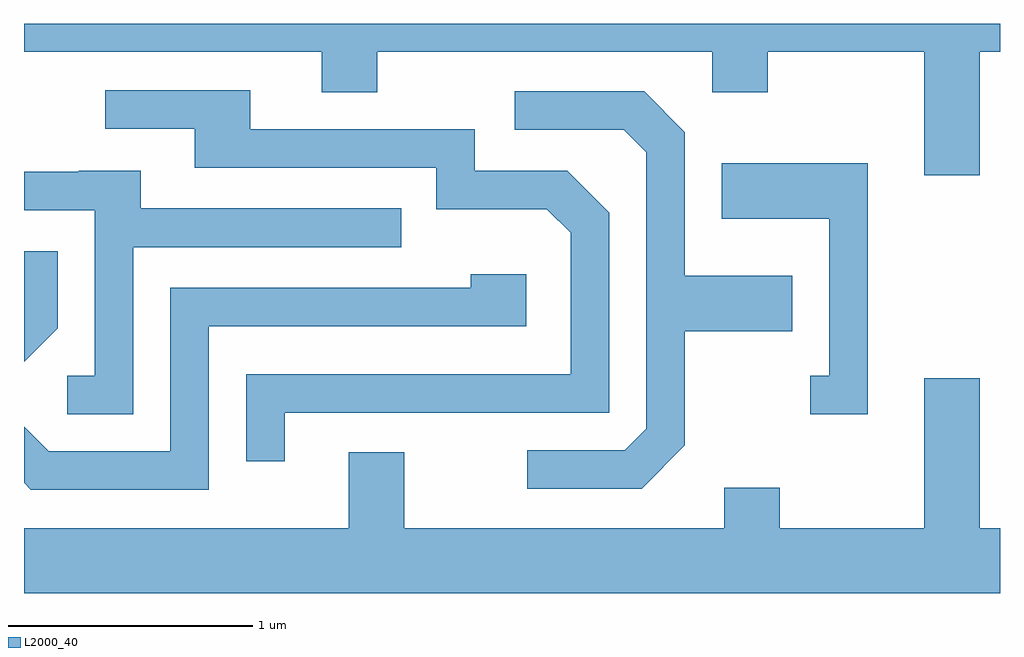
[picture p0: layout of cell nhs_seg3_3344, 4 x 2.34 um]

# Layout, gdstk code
import gdstk
lib = gdstk.Library(unit=1e-6, precision=1e-09)
def P(c, l, *ps):  # polygons
    for p in ps: c.add(gdstk.Polygon(p, *l))
L2000_40 = (2000, 40)

nhs_seg3_3344 = lib.new_cell('nhs_seg3_3344')
P(nhs_seg3_3344, L2000_40, [(287.529,1143.776),(287.611,1143.776),(287.611,1143.892),(283.611,1143.892),(283.611,1143.776),(284.831,1143.776),(284.831,1143.611),(285.059,1143.611),(285.059,1143.776),(286.431,1143.776),(286.431,1143.611),(286.659,1143.611),(286.659,1143.776),(287.301,1143.776),(287.301,1143.271),(287.529,1143.271)],
  [(284.679,1142.296),(286.009,1142.296),(286.009,1143.117),(285.837,1143.289),(285.459,1143.289),(285.459,1143.459),(284.539,1143.459),(284.539,1143.619),(283.943,1143.619),(283.943,1143.461),(284.311,1143.461),(284.311,1143.301),(285.301,1143.301),(285.301,1143.131),(285.754,1143.131),(285.851,1143.034),(285.851,1142.454),(284.521,1142.454),(284.521,1142.098),(284.679,1142.098)],
  [(286.319,1142.164),(286.319,1142.631),(286.759,1142.631),(286.759,1142.859),(286.319,1142.859),(286.319,1143.447),(286.152,1143.614),(285.623,1143.614),(285.623,1143.456),(286.069,1143.456),(286.161,1143.364),(286.161,1142.232),(286.074,1142.144),(285.673,1142.144),(285.673,1141.986),(286.142,1141.986)],
  [(287.069,1143.319),(286.471,1143.319),(286.471,1143.091),(286.911,1143.091),(286.911,1142.449),(286.833,1142.449),(286.833,1142.291),(287.069,1142.291)],
  [(284.059,1142.976),(285.158,1142.976),(285.158,1143.134),(284.089,1143.134),(284.089,1143.289),(283.835,1143.289),(283.835,1143.284),(283.611,1143.284),(283.611,1143.126),(283.901,1143.126),(283.901,1142.449),(283.788,1142.449),(283.788,1142.291),(284.059,1142.291)],
  [(283.749,1142.644),(283.749,1142.958),(283.611,1142.958),(283.611,1142.505)],
  [(284.369,1142.651),(285.669,1142.651),(285.669,1142.864),(285.441,1142.864),(285.441,1142.809),(284.211,1142.809),(284.211,1142.139),(283.712,1142.139),(283.611,1142.24),(283.611,1142.009),(283.639,1141.981),(284.369,1141.981)],
  [(287.611,1141.824),(287.529,1141.824),(287.529,1142.439),(287.301,1142.439),(287.301,1141.824),(286.709,1141.824),(286.709,1141.989),(286.481,1141.989),(286.481,1141.824),(285.169,1141.824),(285.169,1142.134),(284.941,1142.134),(284.941,1141.824),(283.611,1141.824),(283.611,1141.556),(287.611,1141.556)])

lib.write_gds('nhs_seg3_3344.gds')
